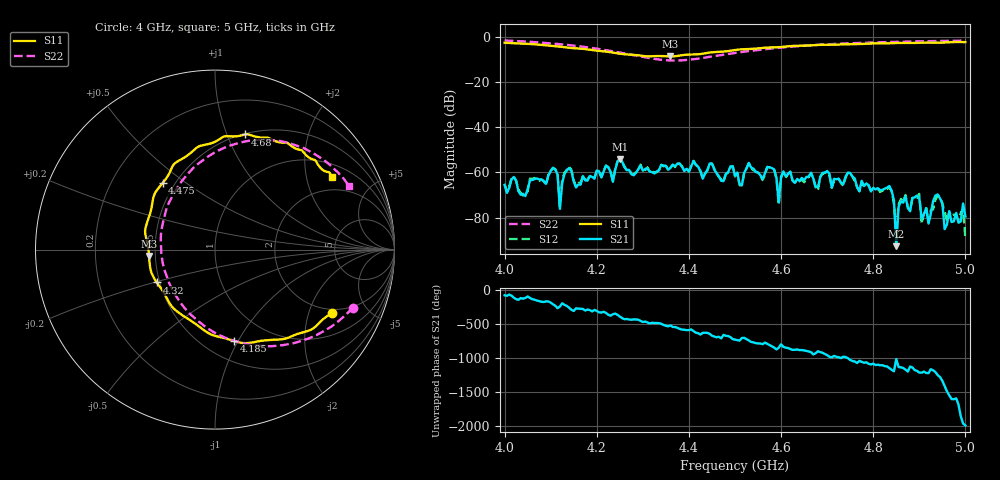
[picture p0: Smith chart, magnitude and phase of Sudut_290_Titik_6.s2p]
# Hz S RI R 50
! CMT, C1220, 16058040, 17.2.0/1
! Date: 15/08/2018 12:13:45
! Data: Format (Calibration Info)
! Freq  S11: Re/Im (F2)  S21: Re/Im (F2)  S12: Re/Im (F2)  S22: Re/Im (F2)
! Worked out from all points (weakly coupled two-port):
!   201 points, 4 GHz to 5 GHz, reference 50 ohm
!   highest |S21| = -54.20 dB at 4.25 GHz (marker M1); lowest = -92.6 dB at 4.85 GHz (marker M2)
!   lowest |S11| = -8.7 dB at 4.36 GHz (marker M3), VSWR 2.17, Z = 23.1 - j1.87 ohm
!   |S11| at or under -10 dB: nowhere
!   |S22| runs from -10.5 to -1.6 dB; largest |S21 - S12| = 0.00013
!   S11 on the Smith chart (normalised r, x): 4 GHz: 1.84, -2.87; 4.185 GHz: 0.69, -0.96; 4.32 GHz: 0.48, -0.20; 4.475 GHz: 0.43, +0.41; 4.68 GHz: 0.51, +1.16; 5 GHz: 1.45, +2.83
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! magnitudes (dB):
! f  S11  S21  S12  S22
! 4 GHz  -2.6  -65.5  -65.2  -1.6
! 4.105 GHz  -4.0  -58.0  -58.0  -3.0
! 4.12 GHz  -4.3  -76.1  -75.2  -3.2
! 4.13 GHz  -4.6  -60.6  -60.2  -3.4
! 4.17 GHz  -5.3  -61.6  -61.4  -4.4
! 4.185 GHz  -5.7  -61.6  -61.6  -4.8
! 4.25 GHz  -7.5  -54.2  -54.1  -6.9
! 4.32 GHz  -8.6  -59.9  -59.6  -9.6
! 4.335 GHz  -8.5  -59.0  -59.2  -10.0
! 4.36 GHz  -8.7  -58.0  -57.8  -10.4
! 4.475 GHz  -6.5  -63.9  -64.0  -7.9
! 4.5 GHz  -5.8  -61.5  -61.8  -7.1
! 4.58 GHz  -4.7  -58.1  -58.1  -5.1
! 4.595 GHz  -4.6  -73.2  -74.4  -4.8
! 4.605 GHz  -4.4  -59.6  -60.0  -4.7
! 4.67 GHz  -3.7  -62.7  -62.9  -3.7
! 4.68 GHz  -3.6  -66.6  -68.0  -3.5
! 4.835 GHz  -2.8  -66.0  -66.7  -2.3
! 4.85 GHz  -2.7  -92.6  -86.3  -2.2
! 4.9 GHz  -2.6  -71.3  -69.5  -2.0
! 4.905 GHz  -2.6  -80.7  -82.7  -2.0
! 5 GHz  -2.3  -79.6  -89.7  -1.6
